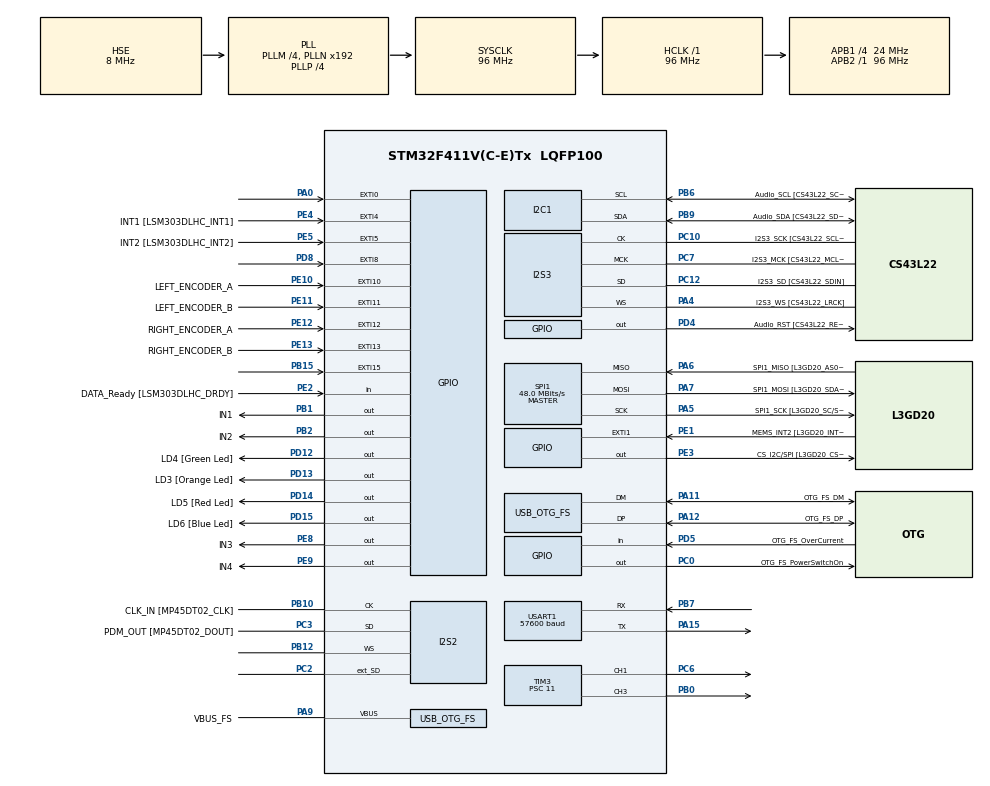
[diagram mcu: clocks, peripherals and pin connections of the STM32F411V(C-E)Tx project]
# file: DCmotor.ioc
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Dma.Request0=USART1_RX
Dma.Request1=USART1_TX
Dma.USART1_RX.0.Direction=DMA_PERIPH_TO_MEMORY
Dma.USART1_RX.0.FIFOMode=DMA_FIFOMODE_DISABLE
Dma.USART1_RX.0.Instance=DMA2_Stream2
Dma.USART1_RX.0.MemDataAlignment=DMA_MDATAALIGN_BYTE
Dma.USART1_RX.0.MemInc=DMA_MINC_ENABLE
Dma.USART1_RX.0.Mode=DMA_NORMAL
Dma.USART1_RX.0.PeriphDataAlignment=DMA_PDATAALIGN_BYTE
Dma.USART1_RX.0.PeriphInc=DMA_PINC_DISABLE
Dma.USART1_RX.0.Priority=DMA_PRIORITY_LOW
Dma.USART1_TX.1.Direction=DMA_MEMORY_TO_PERIPH
Dma.USART1_TX.1.FIFOMode=DMA_FIFOMODE_DISABLE
Dma.USART1_TX.1.Instance=DMA2_Stream7
Dma.USART1_TX.1.MemDataAlignment=DMA_MDATAALIGN_BYTE
Dma.USART1_TX.1.MemInc=DMA_MINC_ENABLE
Dma.USART1_TX.1.Mode=DMA_NORMAL
Dma.USART1_TX.1.PeriphDataAlignment=DMA_PDATAALIGN_BYTE
Dma.USART1_TX.1.PeriphInc=DMA_PINC_DISABLE
Dma.USART1_TX.1.Priority=DMA_PRIORITY_LOW
I2S2.AudioFreq=I2S_AUDIOFREQ_96K
I2S2.ErrorAudioFreq=0.15 %
I2S2.FullDuplexMode=I2S_FULLDUPLEXMODE_ENABLE
I2S2.Instance=SPI$Index
I2S2.RealAudioFreq=96.153 KHz
I2S2.VirtualMode=I2S_MODE_MASTER
I2S3.AudioFreq=I2S_AUDIOFREQ_96K
I2S3.ErrorAudioFreq=-6.99 %
I2S3.FullDuplexMode=I2S_FULLDUPLEXMODE_DISABLE
I2S3.Instance=SPI$Index
I2S3.RealAudioFreq=89.285 KHz
I2S3.VirtualMode=I2S_MODE_MASTER
Mcu.Family=STM32F4
Mcu.Name=STM32F411V(C-E)Tx
Mcu.Package=LQFP100
NVIC.DMA2_Stream2_IRQn=true\:0\:0\:false\:false\:true\:false\:true\:true
NVIC.DMA2_Stream7_IRQn=true\:0\:0\:false\:false\:true\:false\:true\:true
NVIC.EXTI15_10_IRQn=true\:0\:0\:false\:false\:true\:true\:true\:true
NVIC.OTG_FS_IRQn=true\:0\:0\:false\:false\:true\:true\:true\:true
NVIC.PriorityGroup=NVIC_PRIORITYGROUP_0
NVIC.TIM2_IRQn=true\:0\:2\:false\:false\:true\:true\:true\:true
NVIC.TIM3_IRQn=true\:0\:3\:false\:false\:true\:true\:true\:true
NVIC.USART1_IRQn=true\:0\:0\:false\:false\:true\:true\:true\:true
PA0-WKUP.GPIO_ModeDefaultEXTI=GPIO_MODE_EVT_RISING
PA0-WKUP.Signal=GPXTI0
PA10.GPIO_Label=OTG_FS_ID
PA10.Signal=USB_OTG_FS_ID
PA11.GPIO_Label=OTG_FS_DM
PA11.Mode=Host_Only
PA11.Signal=USB_OTG_FS_DM
PA12.GPIO_Label=OTG_FS_DP
PA12.Mode=Host_Only
PA12.Signal=USB_OTG_FS_DP
PA13.GPIO_Label=SWDIO
PA13.Mode=Serial_Wire
PA13.Signal=SYS_JTMS-SWDIO
PA14.GPIO_Label=SWCLK
PA14.Mode=Serial_Wire
PA14.Signal=SYS_JTCK-SWCLK
PA15.Mode=Asynchronous
PA15.Signal=USART1_TX
PA4.GPIO_Label=I2S3_WS [CS43L22_LRCK]
PA4.GPIO_Mode=GPIO_MODE_AF_PP
PA4.GPIO_PuPd=GPIO_NOPULL
PA4.GPIO_Speed=GPIO_SPEED_FREQ_LOW
PA4.Mode=Half_Duplex_Master
PA4.Signal=I2S3_WS
PA5.GPIO_Label=SPI1_SCK [L3GD20_SC/SPC]
PA5.Mode=Full_Duplex_Master
PA5.Signal=SPI1_SCK
PA6.GPIO_Label=SPI1_MISO [L3GD20_AS0/SDO]
PA6.Mode=Full_Duplex_Master
PA6.Signal=SPI1_MISO
PA7.GPIO_Label=SPI1_MOSI [L3GD20_SDA/SDI/SDO]
PA7.Mode=Full_Duplex_Master
PA7.Signal=SPI1_MOSI
PA9.GPIO_Label=VBUS_FS
PA9.Mode=Activate_VBUS
PA9.Signal=USB_OTG_FS_VBUS
PB0.Signal=S_TIM3_CH3
PB1.GPIO_Label=IN1
PB1.Signal=GPIO_Output
PB10.GPIO_Label=CLK_IN [MP45DT02_CLK]
PB10.Mode=Full_Duplex_Master
PB10.Signal=I2S2_CK
PB12.Mode=Full_Duplex_Master
PB12.Signal=I2S2_WS
PB15.Signal=GPXTI15
PB2.GPIO_Label=IN2
PB2.Signal=GPIO_Output
PB3.GPIO_Label=SWO
PB3.Signal=SYS_JTDO-SWO
PB6.GPIO_Label=Audio_SCL [CS43L22_SCL]
PB6.GPIO_Mode=GPIO_MODE_AF_OD
PB6.GPIO_Pu=GPIO_PULLUP
PB6.GPIO_PuPd=GPIO_NOPULL
PB6.GPIO_Speed=GPIO_SPEED_FREQ_LOW
PB6.Mode=I2C
PB6.Signal=I2C1_SCL
PB7.Mode=Asynchronous
PB7.Signal=USART1_RX
PB9.GPIO_Label=Audio_SDA [CS43L22_SDA]
PB9.GPIO_Mode=GPIO_MODE_AF_OD
PB9.GPIO_Pu=GPIO_PULLUP
PB9.GPIO_PuPd=GPIO_NOPULL
PB9.GPIO_Speed=GPIO_SPEED_FREQ_LOW
PB9.Mode=I2C
PB9.Signal=I2C1_SDA
PC0.GPIO_Label=OTG_FS_PowerSwitchOn
PC0.PinState=GPIO_PIN_SET
PC0.Signal=GPIO_Output
PC10.GPIO_Label=I2S3_SCK [CS43L22_SCLK]
PC10.GPIO_Mode=GPIO_MODE_AF_PP
PC10.GPIO_PuPd=GPIO_NOPULL
PC10.GPIO_Speed=GPIO_SPEED_FREQ_LOW
PC10.Mode=Half_Duplex_Master
PC10.Signal=I2S3_CK
PC12.GPIO_Label=I2S3_SD [CS43L22_SDIN]
PC12.GPIO_Mode=GPIO_MODE_AF_PP
PC12.GPIO_PuPd=GPIO_NOPULL
PC12.GPIO_Speed=GPIO_SPEED_FREQ_LOW
PC12.Mode=Half_Duplex_Master
PC12.Signal=I2S3_SD
PC14-OSC32_IN.GPIO_Label=PC14-OSC32_IN
PC14-OSC32_IN.Mode=LSE-External-Oscillator
PC14-OSC32_IN.Signal=RCC_OSC32_IN
PC15-OSC32_OUT.GPIO_Label=PC15-OSC32_OUT
PC15-OSC32_OUT.Mode=LSE-External-Oscillator
PC15-OSC32_OUT.Signal=RCC_OSC32_OUT
PC2.Mode=Full_Duplex_Master
PC2.Signal=I2S2_ext_SD
PC3.GPIO_Label=PDM_OUT [MP45DT02_DOUT]
PC3.Mode=Full_Duplex_Master
PC3.Signal=I2S2_SD
PC6.Signal=S_TIM3_CH1
PC7.GPIO_Label=I2S3_MCK [CS43L22_MCLK]
PC7.GPIO_Mode=GPIO_MODE_AF_PP
PC7.GPIO_PuPd=GPIO_NOPULL
PC7.GPIO_Speed=GPIO_SPEED_FREQ_LOW
PC7.Mode=Master_Clock_Activated
PC7.Signal=I2S3_MCK
PD12.GPIO_Label=LD4 [Green Led]
PD12.GPIO_PuPd=GPIO_NOPULL
PD12.GPIO_Speed=GPIO_SPEED_FREQ_LOW
PD12.Signal=GPIO_Output
PD13.GPIO_Label=LD3 [Orange Led]
PD13.GPIO_PuPd=GPIO_NOPULL
PD13.GPIO_Speed=GPIO_SPEED_FREQ_LOW
PD13.Signal=GPIO_Output
PD14.GPIO_Label=LD5 [Red Led]
PD14.GPIO_PuPd=GPIO_NOPULL
PD14.GPIO_Speed=GPIO_SPEED_FREQ_LOW
PD14.Signal=GPIO_Output
PD15.GPIO_Label=LD6 [Blue Led]
PD15.GPIO_PuPd=GPIO_NOPULL
PD15.GPIO_Speed=GPIO_SPEED_FREQ_LOW
PD15.Signal=GPIO_Output
PD4.GPIO_Label=Audio_RST [CS43L22_RESET]
PD4.Signal=GPIO_Output
PD5.GPIO_Label=OTG_FS_OverCurrent
PD5.Signal=GPIO_Input
PD8.Signal=GPXTI8
PE1.GPIO_Label=MEMS_INT2 [L3GD20_INT2]
PE1.GPIO_ModeDefaultEXTI=GPIO_MODE_EVT_RISING
PE1.Signal=GPXTI1
PE10.GPIO_Label=LEFT_ENCODER_A
PE10.GPIO_ModeDefaultEXTI=GPIO_MODE_IT_RISING_FALLING
PE10.Signal=GPXTI10
PE11.GPIO_Label=LEFT_ENCODER_B
PE11.GPIO_ModeDefaultEXTI=GPIO_MODE_IT_RISING_FALLING
PE11.Signal=GPXTI11
PE12.GPIO_Label=RIGHT_ENCODER_A
PE12.GPIO_ModeDefaultEXTI=GPIO_MODE_IT_RISING_FALLING
PE12.Signal=GPXTI12
PE13.GPIO_Label=RIGHT_ENCODER_B
PE13.GPIO_ModeDefaultEXTI=GPIO_MODE_IT_RISING_FALLING
PE13.Signal=GPXTI13
PE2.GPIO_Label=DATA_Ready [LSM303DLHC_DRDY]
PE2.Signal=GPIO_Input
PE3.GPIO_Label=CS_I2C/SPI [L3GD20_CS_I2C/SPI]
PE3.Signal=GPIO_Output
PE4.GPIO_Label=INT1 [LSM303DLHC_INT1]
PE4.GPIO_ModeDefaultEXTI=GPIO_MODE_EVT_RISING
PE4.Signal=GPXTI4
PE5.GPIO_Label=INT2 [LSM303DLHC_INT2]
PE5.GPIO_ModeDefaultEXTI=GPIO_MODE_EVT_RISING
PE5.Signal=GPXTI5
PE8.GPIO_Label=IN3
PE8.Signal=GPIO_Output
PE9.GPIO_Label=IN4
PE9.Signal=GPIO_Output
PH0\ -\ OSC_IN.GPIO_Label=PH0-OSC_IN
PH0\ -\ OSC_IN.Mode=HSE-External-Oscillator
PH0\ -\ OSC_IN.Signal=RCC_OSC_IN
PH1\ -\ OSC_OUT.GPIO_Label=PH1-OSC_OUT
PH1\ -\ OSC_OUT.Mode=HSE-External-Oscillator
PH1\ -\ OSC_OUT.Signal=RCC_OSC_OUT
ProjectManager.HeapSize=0x200
ProjectManager.StackSize=0x400
ProjectManager.TargetToolchain=STM32CubeIDE
RCC.48MHZClocksFreq_Value=48000000
RCC.AHBFreq_Value=96000000
RCC.APB1CLKDivider=RCC_HCLK_DIV4
RCC.APB1Freq_Value=24000000
RCC.APB1TimFreq_Value=48000000
RCC.APB2Freq_Value=96000000
RCC.APB2TimFreq_Value=96000000
RCC.CortexFreq_Value=96000000
RCC.HCLKFreq_Value=96000000
RCC.HSE_VALUE=8000000
RCC.HSI_VALUE=16000000
RCC.PLLI2SM=5
RCC.PLLI2SN=200
RCC.PLLM=4
RCC.PLLP=RCC_PLLP_DIV4
RCC.PLLQ=8
RCC.SYSCLKFreq_VALUE=96000000
RCC.SYSCLKSource=RCC_SYSCLKSOURCE_PLLCLK
RCC.VCOOutputFreq_Value=384000000
SH.S_TIM3_CH1.0=TIM3_CH1,PWM Generation1 CH1
SH.S_TIM3_CH3.0=TIM3_CH3,PWM Generation3 CH3
SPI1.BaudRatePrescaler=SPI_BAUDRATEPRESCALER_2
SPI1.CalculateBaudRate=48.0 MBits/s
SPI1.Direction=SPI_DIRECTION_2LINES
SPI1.Mode=SPI_MODE_MASTER
SPI1.VirtualType=VM_MASTER
TIM2.Period=1000
TIM2.Prescaler=47
TIM3.Channel-PWM\ Generation1\ CH1=TIM_CHANNEL_1
TIM3.Channel-PWM\ Generation3\ CH3=TIM_CHANNEL_3
TIM3.Period=400
TIM3.Prescaler=11
USART1.BaudRate=57600
USART1.VirtualMode=VM_ASYNC
USB_HOST.BSP.number=1
USB_HOST.USBH_HandleTypeDef=hUsbHostFS
USB_HOST.VirtualModeFS=Cdc
USB_HOST0.BSP.STBoard=false
USB_HOST0.BSP.api=Unknown
USB_HOST0.BSP.instance=PC0
USB_HOST0.BSP.ip=GPIO
USB_HOST0.BSP.mode=Output
USB_HOST0.BSP.name=Drive_VBUS_FS
USB_HOST0.BSP.solution=PC0
USB_OTG_FS.VirtualMode=Host_Only
USB_OTG_FS.phy_itface=HCD_PHY_EMBEDDED
VP_TIM2_VS_ClockSourceINT.Mode=Internal
VP_TIM3_VS_ClockSourceINT.Mode=Internal
VP_USB_HOST_VS_USB_HOST_CDC_FS.Mode=CDC_FS
board=STM32F411E-DISCO

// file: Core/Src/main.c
/* USER CODE BEGIN Header */
/**
  ******************************************************************************
  * @file           : main.c
  * @brief          : Main program body
  ******************************************************************************
  * @attention
  *
  * Copyright (c) 2022 STMicroelectronics.
  * All rights reserved.
  *
  * This software is licensed under terms that can be found in the LICENSE file
  * in the root directory of this software component.
  * If no LICENSE file comes with this software, it is provided AS-IS.
  *
  ******************************************************************************
  */
/* USER CODE END Header */
#include "main.h"
#include "usb_host.h"

/* USER CODE BEGIN Includes */
#include "stdbool.h"
#include "stdio.h"
#include "math.h"
#include "DCmotor.h"
/* USER CODE END Includes */

I2C_HandleTypeDef hi2c1;

I2S_HandleTypeDef hi2s2;
I2S_HandleTypeDef hi2s3;

SPI_HandleTypeDef hspi1;

TIM_HandleTypeDef htim2;
TIM_HandleTypeDef htim3;

UART_HandleTypeDef huart1;
DMA_HandleTypeDef hdma_usart1_rx;
DMA_HandleTypeDef hdma_usart1_tx;

void SystemClock_Config(void);
void PeriphCommonClock_Config(void);
static void MX_GPIO_Init(void);
static void MX_DMA_Init(void);
static void MX_I2C1_Init(void);
static void MX_I2S2_Init(void);
static void MX_I2S3_Init(void);
static void MX_SPI1_Init(void);
static void MX_TIM3_Init(void);
static void MX_TIM2_Init(void);
static void MX_USART1_UART_Init(void);
void MX_USB_HOST_Process(void);

/* USER CODE BEGIN PFP */

/* We need data to calculate PID param, hence we write data into a file.txt */
int _write(int file, char *ptr, int len)
{
  /* Implement your write code here, this is used by puts and printf for example */
  int i=0;
  for(i=0 ; i<len ; i++)
    ITM_SendChar((*ptr++));
  return len;
}
/* USER CODE END PFP */

/* USER CODE BEGIN 0 */
float LeftPidOut,RightPidOut;
//float SetPoint=20.0;

float left_vel,right_vel;
float v=0.01,omega=0.0;
/************* PID parameter ******************/

/* USER CODE END 0 */

int main(void)
{

  /* MCU Configuration--------------------------------------------------------*/

  /* Reset of all peripherals, Initializes the Flash interface and the Systick. */
  HAL_Init();

  /* Configure the system clock */
  SystemClock_Config();

/* Configure the peripherals common clocks */
  PeriphCommonClock_Config();

  /* Initialize all configured peripherals */
  MX_GPIO_Init();
  MX_DMA_Init();
  MX_I2C1_Init();
  MX_I2S2_Init();
  MX_I2S3_Init();
  MX_SPI1_Init();
  MX_USB_HOST_Init();
  MX_TIM3_Init();
  MX_TIM2_Init();
  MX_USART1_UART_Init();
  /* USER CODE BEGIN 2 */
  HAL_TIM_Base_Start_IT(&htim2);

  HAL_TIM_PWM_Start(&htim3,TIM_CHANNEL_1);
  HAL_TIM_PWM_Start(&htim3,TIM_CHANNEL_3);

  // IN1,IN2 pin   (motor A)
  HAL_GPIO_WritePin(GPIOB,GPIO_PIN_1,GPIO_PIN_RESET);
  HAL_GPIO_WritePin(GPIOB,GPIO_PIN_2,GPIO_PIN_SET);

  // IN3,IN4 pin	(motor B)
	  HAL_GPIO_WritePin(GPIOE,GPIO_PIN_8,GPIO_PIN_RESET);    // (0,1): < 0: forward. (1,0): >0 : reverse.
	  HAL_GPIO_WritePin(GPIOE,GPIO_PIN_9,GPIO_PIN_SET);

  SubcribeVelocityFromRos(&v,&omega,&left_vel,&right_vel);

  // ENA, ENB
//	  __HAL_TIM_SetCompare(&htim3,TIM_CHANNEL_3,100); // Motor A (left)
//	  __HAL_TIM_SetCompare(&htim3,TIM_CHANNEL_1,100); // Motor B (right)
  /* USER CODE END 2 */

  /* Infinite loop */
  while (1)
  {
    MX_USB_HOST_Process();

    /* USER CODE BEGIN 3 */

//    ReadEncoder();
//    ComputeVelocity();
    previous_tick=HAL_GetTick();

    PID(&left_vel,&rpm_left_velocity,&LeftPidOut);
    PID(&right_vel,&rpm_right_velocity,&RightPidOut);
    HAL_Delay(1000*SAMPLE_TIME);
	  __HAL_TIM_SetCompare(&htim3,TIM_CHANNEL_3,fabs(round(LeftPidOut)));
	  __HAL_TIM_SetCompare(&htim3,TIM_CHANNEL_1,fabs(round(RightPidOut)));
	current_tick=HAL_GetTick();
	diff_tick=current_tick-previous_tick;

  }
  /* USER CODE END 3 */
}

void SystemClock_Config(void)
{
  RCC_OscInitTypeDef RCC_OscInitStruct = {0};
  RCC_ClkInitTypeDef RCC_ClkInitStruct = {0};

  /** Configure the main internal regulator output voltage
  */
  __HAL_RCC_PWR_CLK_ENABLE();
  __HAL_PWR_VOLTAGESCALING_CONFIG(PWR_REGULATOR_VOLTAGE_SCALE1);

  /** Initializes the RCC Oscillators according to the specified parameters
  * in the RCC_OscInitTypeDef structure.
  */
  RCC_OscInitStruct.OscillatorType = RCC_OSCILLATORTYPE_HSE;
  RCC_OscInitStruct.HSEState = RCC_HSE_ON;
  RCC_OscInitStruct.PLL.PLLState = RCC_PLL_ON;
  RCC_OscInitStruct.PLL.PLLSource = RCC_PLLSOURCE_HSE;
  RCC_OscInitStruct.PLL.PLLM = 4;
  RCC_OscInitStruct.PLL.PLLN = 192;
  RCC_OscInitStruct.PLL.PLLP = RCC_PLLP_DIV4;
  RCC_OscInitStruct.PLL.PLLQ = 8;
  if (HAL_RCC_OscConfig(&RCC_OscInitStruct) != HAL_OK)
  {
    Error_Handler();
  }

  /** Initializes the CPU, AHB and APB buses clocks
  */
  RCC_ClkInitStruct.ClockType = RCC_CLOCKTYPE_HCLK|RCC_CLOCKTYPE_SYSCLK
                              |RCC_CLOCKTYPE_PCLK1|RCC_CLOCKTYPE_PCLK2;
  RCC_ClkInitStruct.SYSCLKSource = RCC_SYSCLKSOURCE_PLLCLK;
  RCC_ClkInitStruct.AHBCLKDivider = RCC_SYSCLK_DIV1;
  RCC_ClkInitStruct.APB1CLKDivider = RCC_HCLK_DIV4;
  RCC_ClkInitStruct.APB2CLKDivider = RCC_HCLK_DIV1;

  if (HAL_RCC_ClockConfig(&RCC_ClkInitStruct, FLASH_LATENCY_3) != HAL_OK)
  {
    Error_Handler();
  }
}

void PeriphCommonClock_Config(void)
{
  RCC_PeriphCLKInitTypeDef PeriphClkInitStruct = {0};

  /** Initializes the peripherals clock
  */
  PeriphClkInitStruct.PeriphClockSelection = RCC_PERIPHCLK_I2S;
  PeriphClkInitStruct.PLLI2S.PLLI2SN = 200;
  PeriphClkInitStruct.PLLI2S.PLLI2SM = 5;
  PeriphClkInitStruct.PLLI2S.PLLI2SR = 2;
  if (HAL_RCCEx_PeriphCLKConfig(&PeriphClkInitStruct) != HAL_OK)
  {
    Error_Handler();
  }
}

static void MX_I2C1_Init(void)
{

  hi2c1.Instance = I2C1;
  hi2c1.Init.ClockSpeed = 100000;
  hi2c1.Init.DutyCycle = I2C_DUTYCYCLE_2;
  hi2c1.Init.OwnAddress1 = 0;
  hi2c1.Init.AddressingMode = I2C_ADDRESSINGMODE_7BIT;
  hi2c1.Init.DualAddressMode = I2C_DUALADDRESS_DISABLE;
  hi2c1.Init.OwnAddress2 = 0;
  hi2c1.Init.GeneralCallMode = I2C_GENERALCALL_DISABLE;
  hi2c1.Init.NoStretchMode = I2C_NOSTRETCH_DISABLE;
  if (HAL_I2C_Init(&hi2c1) != HAL_OK)
  {
    Error_Handler();
  }

}

static void MX_I2S2_Init(void)
{

  hi2s2.Instance = SPI2;
  hi2s2.Init.Mode = I2S_MODE_MASTER_TX;
  hi2s2.Init.Standard = I2S_STANDARD_PHILIPS;
  hi2s2.Init.DataFormat = I2S_DATAFORMAT_16B;
  hi2s2.Init.MCLKOutput = I2S_MCLKOUTPUT_DISABLE;
  hi2s2.Init.AudioFreq = I2S_AUDIOFREQ_96K;
  hi2s2.Init.CPOL = I2S_CPOL_LOW;
  hi2s2.Init.ClockSource = I2S_CLOCK_PLL;
  hi2s2.Init.FullDuplexMode = I2S_FULLDUPLEXMODE_ENABLE;
  if (HAL_I2S_Init(&hi2s2) != HAL_OK)
  {
    Error_Handler();
  }

}

static void MX_I2S3_Init(void)
{

  hi2s3.Instance = SPI3;
  hi2s3.Init.Mode = I2S_MODE_MASTER_TX;
  hi2s3.Init.Standard = I2S_STANDARD_PHILIPS;
  hi2s3.Init.DataFormat = I2S_DATAFORMAT_16B;
  hi2s3.Init.MCLKOutput = I2S_MCLKOUTPUT_ENABLE;
  hi2s3.Init.AudioFreq = I2S_AUDIOFREQ_96K;
  hi2s3.Init.CPOL = I2S_CPOL_LOW;
  hi2s3.Init.ClockSource = I2S_CLOCK_PLL;
  hi2s3.Init.FullDuplexMode = I2S_FULLDUPLEXMODE_DISABLE;
  if (HAL_I2S_Init(&hi2s3) != HAL_OK)
  {
    Error_Handler();
  }

}

static void MX_SPI1_Init(void)
{

  /* SPI1 parameter configuration*/
  hspi1.Instance = SPI1;
  hspi1.Init.Mode = SPI_MODE_MASTER;
  hspi1.Init.Direction = SPI_DIRECTION_2LINES;
  hspi1.Init.DataSize = SPI_DATASIZE_8BIT;
  hspi1.Init.CLKPolarity = SPI_POLARITY_LOW;
  hspi1.Init.CLKPhase = SPI_PHASE_1EDGE;
  hspi1.Init.NSS = SPI_NSS_SOFT;
  hspi1.Init.BaudRatePrescaler = SPI_BAUDRATEPRESCALER_2;
  hspi1.Init.FirstBit = SPI_FIRSTBIT_MSB;
  hspi1.Init.TIMode = SPI_TIMODE_DISABLE;
  hspi1.Init.CRCCalculation = SPI_CRCCALCULATION_DISABLE;
  hspi1.Init.CRCPolynomial = 10;
  if (HAL_SPI_Init(&hspi1) != HAL_OK)
  {
    Error_Handler();
  }

}

static void MX_TIM2_Init(void)
{

  TIM_ClockConfigTypeDef sClockSourceConfig = {0};
  TIM_MasterConfigTypeDef sMasterConfig = {0};

  htim2.Instance = TIM2;
  htim2.Init.Prescaler = 47;
  htim2.Init.CounterMode = TIM_COUNTERMODE_UP;
  htim2.Init.Period = 1000;
  htim2.Init.ClockDivision = TIM_CLOCKDIVISION_DIV1;
  htim2.Init.AutoReloadPreload = TIM_AUTORELOAD_PRELOAD_DISABLE;
  if (HAL_TIM_Base_Init(&htim2) != HAL_OK)
  {
    Error_Handler();
  }
  sClockSourceConfig.ClockSource = TIM_CLOCKSOURCE_INTERNAL;
  if (HAL_TIM_ConfigClockSource(&htim2, &sClockSourceConfig) != HAL_OK)
  {
    Error_Handler();
  }
  sMasterConfig.MasterOutputTrigger = TIM_TRGO_RESET;
  sMasterConfig.MasterSlaveMode = TIM_MASTERSLAVEMODE_DISABLE;
  if (HAL_TIMEx_MasterConfigSynchronization(&htim2, &sMasterConfig) != HAL_OK)
  {
    Error_Handler();
  }

}

static void MX_TIM3_Init(void)
{

  TIM_ClockConfigTypeDef sClockSourceConfig = {0};
  TIM_MasterConfigTypeDef sMasterConfig = {0};
  TIM_OC_InitTypeDef sConfigOC = {0};

  htim3.Instance = TIM3;
  htim3.Init.Prescaler = 11;
  htim3.Init.CounterMode = TIM_COUNTERMODE_UP;
  htim3.Init.Period = 400;
  htim3.Init.ClockDivision = TIM_CLOCKDIVISION_DIV1;
  htim3.Init.AutoReloadPreload = TIM_AUTORELOAD_PRELOAD_DISABLE;
  if (HAL_TIM_Base_Init(&htim3) != HAL_OK)
  {
    Error_Handler();
  }
  sClockSourceConfig.ClockSource = TIM_CLOCKSOURCE_INTERNAL;
  if (HAL_TIM_ConfigClockSource(&htim3, &sClockSourceConfig) != HAL_OK)
  {
    Error_Handler();
  }
  if (HAL_TIM_PWM_Init(&htim3) != HAL_OK)
  {
    Error_Handler();
  }
  sMasterConfig.MasterOutputTrigger = TIM_TRGO_RESET;
  sMasterConfig.MasterSlaveMode = TIM_MASTERSLAVEMODE_DISABLE;
  if (HAL_TIMEx_MasterConfigSynchronization(&htim3, &sMasterConfig) != HAL_OK)
  {
    Error_Handler();
  }
  sConfigOC.OCMode = TIM_OCMODE_PWM1;
  sConfigOC.Pulse = 0;
  sConfigOC.OCPolarity = TIM_OCPOLARITY_HIGH;
  sConfigOC.OCFastMode = TIM_OCFAST_DISABLE;
  if (HAL_TIM_PWM_ConfigChannel(&htim3, &sConfigOC, TIM_CHANNEL_1) != HAL_OK)
  {
    Error_Handler();
  }
  if (HAL_TIM_PWM_ConfigChannel(&htim3, &sConfigOC, TIM_CHANNEL_3) != HAL_OK)
  {
    Error_Handler();
  }
  HAL_TIM_MspPostInit(&htim3);

}

static void MX_USART1_UART_Init(void)
{

  huart1.Instance = USART1;
  huart1.Init.BaudRate = 57600;
  huart1.Init.WordLength = UART_WORDLENGTH_8B;
  huart1.Init.StopBits = UART_STOPBITS_1;
  huart1.Init.Parity = UART_PARITY_NONE;
  huart1.Init.Mode = UART_MODE_TX_RX;
  huart1.Init.HwFlowCtl = UART_HWCONTROL_NONE;
  huart1.Init.OverSampling = UART_OVERSAMPLING_16;
  if (HAL_UART_Init(&huart1) != HAL_OK)
  {
    Error_Handler();
  }

}

static void MX_DMA_Init(void)
{

  /* DMA controller clock enable */
  __HAL_RCC_DMA2_CLK_ENABLE();

  /* DMA interrupt init */
  /* DMA2_Stream2_IRQn interrupt configuration */
  HAL_NVIC_SetPriority(DMA2_Stream2_IRQn, 0, 0);
  HAL_NVIC_EnableIRQ(DMA2_Stream2_IRQn);
  /* DMA2_Stream7_IRQn interrupt configuration */
  HAL_NVIC_SetPriority(DMA2_Stream7_IRQn, 0, 0);
  HAL_NVIC_EnableIRQ(DMA2_Stream7_IRQn);

}

static void MX_GPIO_Init(void)
{
  GPIO_InitTypeDef GPIO_InitStruct = {0};

  /* GPIO Ports Clock Enable */
  __HAL_RCC_GPIOE_CLK_ENABLE();
  __HAL_RCC_GPIOC_CLK_ENABLE();
  __HAL_RCC_GPIOH_CLK_ENABLE();
  __HAL_RCC_GPIOA_CLK_ENABLE();
  __HAL_RCC_GPIOB_CLK_ENABLE();
  __HAL_RCC_GPIOD_CLK_ENABLE();

  /*Configure GPIO pin Output Level */
  HAL_GPIO_WritePin(GPIOE, CS_I2C_SPI_Pin|IN3_Pin|IN4_Pin, GPIO_PIN_RESET);

  /*Configure GPIO pin Output Level */
  HAL_GPIO_WritePin(OTG_FS_PowerSwitchOn_GPIO_Port, OTG_FS_PowerSwitchOn_Pin, GPIO_PIN_SET);

  /*Configure GPIO pin Output Level */
  HAL_GPIO_WritePin(GPIOB, IN1_Pin|IN2_Pin, GPIO_PIN_RESET);

  /*Configure GPIO pin Output Level */
  HAL_GPIO_WritePin(GPIOD, LD4_Pin|LD3_Pin|LD5_Pin|LD6_Pin
                          |Audio_RST_Pin, GPIO_PIN_RESET);

  /*Configure GPIO pin : DATA_Ready_Pin */
  GPIO_InitStruct.Pin = DATA_Ready_Pin;
  GPIO_InitStruct.Mode = GPIO_MODE_INPUT;
  GPIO_InitStruct.Pull = GPIO_NOPULL;
  HAL_GPIO_Init(DATA_Ready_GPIO_Port, &GPIO_InitStruct);

  /*Configure GPIO pins : CS_I2C_SPI_Pin IN3_Pin IN4_Pin */
  GPIO_InitStruct.Pin = CS_I2C_SPI_Pin|IN3_Pin|IN4_Pin;
  GPIO_InitStruct.Mode = GPIO_MODE_OUTPUT_PP;
  GPIO_InitStruct.Pull = GPIO_NOPULL;
  GPIO_InitStruct.Speed = GPIO_SPEED_FREQ_LOW;
  HAL_GPIO_Init(GPIOE, &GPIO_InitStruct);

  /*Configure GPIO pins : INT1_Pin INT2_Pin MEMS_INT2_Pin */
  GPIO_InitStruct.Pin = INT1_Pin|INT2_Pin|MEMS_INT2_Pin;
  GPIO_InitStruct.Mode = GPIO_MODE_EVT_RISING;
  GPIO_InitStruct.Pull = GPIO_NOPULL;
  HAL_GPIO_Init(GPIOE, &GPIO_InitStruct);

  /*Configure GPIO pin : OTG_FS_PowerSwitchOn_Pin */
  GPIO_InitStruct.Pin = OTG_FS_PowerSwitchOn_Pin;
  GPIO_InitStruct.Mode = GPIO_MODE_OUTPUT_PP;
  GPIO_InitStruct.Pull = GPIO_NOPULL;
  GPIO_InitStruct.Speed = GPIO_SPEED_FREQ_LOW;
  HAL_GPIO_Init(OTG_FS_PowerSwitchOn_GPIO_Port, &GPIO_InitStruct);

  /*Configure GPIO pin : PA0 */
  GPIO_InitStruct.Pin = GPIO_PIN_0;
  GPIO_InitStruct.Mode = GPIO_MODE_EVT_RISING;
  GPIO_InitStruct.Pull = GPIO_NOPULL;
  HAL_GPIO_Init(GPIOA, &GPIO_InitStruct);

  /*Configure GPIO pins : IN1_Pin IN2_Pin */
  GPIO_InitStruct.Pin = IN1_Pin|IN2_Pin;
  GPIO_InitStruct.Mode = GPIO_MODE_OUTPUT_PP;
  GPIO_InitStruct.Pull = GPIO_NOPULL;
  GPIO_InitStruct.Speed = GPIO_SPEED_FREQ_LOW;
  HAL_GPIO_Init(GPIOB, &GPIO_InitStruct);

  /*Configure GPIO pins : LEFT_ENCODER_A_Pin LEFT_ENCODER_B_Pin RIGHT_ENCODER_A_Pin RIGHT_ENCODER_B_Pin */
  GPIO_InitStruct.Pin = LEFT_ENCODER_A_Pin|LEFT_ENCODER_B_Pin|RIGHT_ENCODER_A_Pin|RIGHT_ENCODER_B_Pin;
  GPIO_InitStruct.Mode = GPIO_MODE_IT_RISING_FALLING;
  GPIO_InitStruct.Pull = GPIO_NOPULL;
  HAL_GPIO_Init(GPIOE, &GPIO_InitStruct);

  /*Configure GPIO pin : PB15 */
  GPIO_InitStruct.Pin = GPIO_PIN_15;
  GPIO_InitStruct.Mode = GPIO_MODE_IT_RISING;
  GPIO_InitStruct.Pull = GPIO_NOPULL;
  HAL_GPIO_Init(GPIOB, &GPIO_InitStruct);

  /*Configure GPIO pin : PD8 */
  GPIO_InitStruct.Pin = GPIO_PIN_8;
  GPIO_InitStruct.Mode = GPIO_MODE_IT_RISING;
  GPIO_InitStruct.Pull = GPIO_NOPULL;
  HAL_GPIO_Init(GPIOD, &GPIO_InitStruct);

  /*Configure GPIO pins : LD4_Pin LD3_Pin LD5_Pin LD6_Pin
                           Audio_RST_Pin */
  GPIO_InitStruct.Pin = LD4_Pin|LD3_Pin|LD5_Pin|LD6_Pin
                          |Audio_RST_Pin;
  GPIO_InitStruct.Mode = GPIO_MODE_OUTPUT_PP;
  GPIO_InitStruct.Pull = GPIO_NOPULL;
  GPIO_InitStruct.Speed = GPIO_SPEED_FREQ_LOW;
  HAL_GPIO_Init(GPIOD, &GPIO_InitStruct);

  /*Configure GPIO pin : OTG_FS_OverCurrent_Pin */
  GPIO_InitStruct.Pin = OTG_FS_OverCurrent_Pin;
  GPIO_InitStruct.Mode = GPIO_MODE_INPUT;
  GPIO_InitStruct.Pull = GPIO_NOPULL;
  HAL_GPIO_Init(OTG_FS_OverCurrent_GPIO_Port, &GPIO_InitStruct);

  /* EXTI interrupt init*/
  HAL_NVIC_SetPriority(EXTI15_10_IRQn, 0, 0);
  HAL_NVIC_EnableIRQ(EXTI15_10_IRQn);

}

void Error_Handler(void)
{
  __disable_irq();
  while (1)
  {
  }
}
